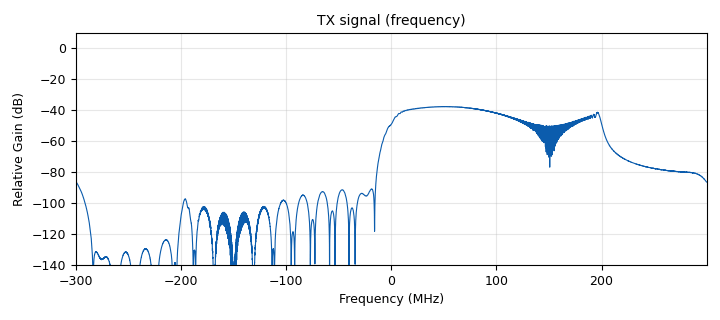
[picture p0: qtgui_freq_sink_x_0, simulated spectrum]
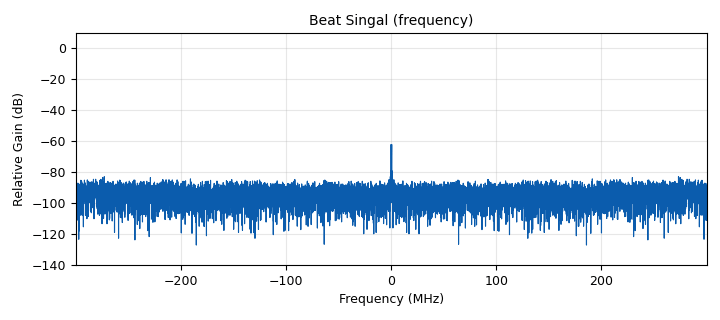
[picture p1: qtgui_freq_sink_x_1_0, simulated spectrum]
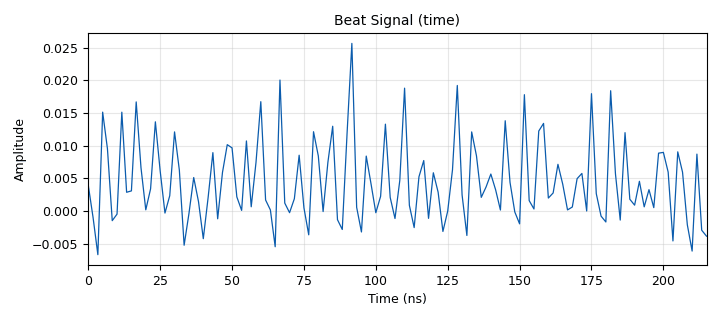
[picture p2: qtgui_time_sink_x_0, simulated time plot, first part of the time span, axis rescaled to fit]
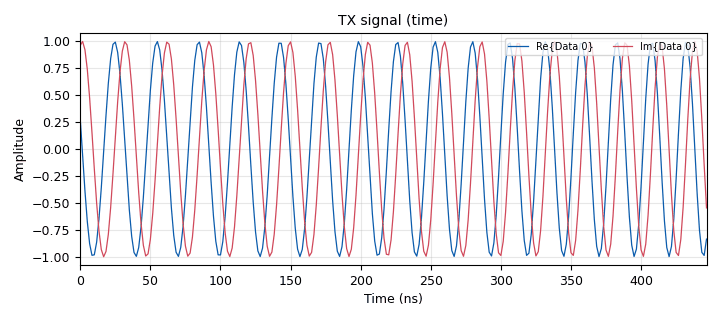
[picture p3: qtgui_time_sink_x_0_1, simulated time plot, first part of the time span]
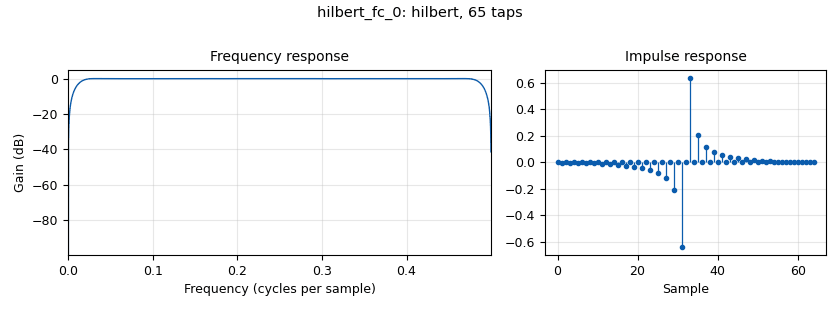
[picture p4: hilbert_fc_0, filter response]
options:
  parameters:
    generate_options: qt_gui
    id: top_block_sim
    output_language: python
    title: Chirp Radar Simulation
  states: {}

blocks:
- name: fft_size
  id: variable
  parameters:
    value: int(8192*8)
  states: {}
- name: samp_rate
  id: variable
  parameters:
    value: '600000000'
  states: {}
- name: analog_noise_source_x_0
  id: analog_noise_source_x
  parameters:
    amp: '0.01'
    noise_type: analog.GR_GAUSSIAN
    seed: '0'
    type: complex
  states: {}
- name: analog_sig_source_x_0
  id: analog_sig_source_x
  parameters:
    amp: '1'
    freq: '100000'
    offset: '0'
    phase: '0'
    samp_rate: samp_rate
    type: float
    waveform: analog.GR_SAW_WAVE
  states: {}
- name: blocks_add_xx_0
  id: blocks_add_xx
  parameters:
    type: complex
  states: {}
- name: blocks_complex_to_real_0
  id: blocks_complex_to_real
  parameters: {}
  states: {}
- name: blocks_complex_to_real_0_0
  id: blocks_complex_to_real
  parameters: {}
  states: {}
- name: blocks_delay_0
  id: blocks_delay
  parameters:
    delay: '8'
    type: complex
  states: {}
- name: blocks_multiply_const_vxx_0
  id: blocks_multiply_const_vxx
  parameters:
    const: '0.01'
    type: complex
  states: {}
- name: blocks_multiply_xx_0
  id: blocks_multiply_xx
  parameters:
    type: float
  states: {}
- name: blocks_stream_to_vector_0
  id: blocks_stream_to_vector
  parameters:
    num_items: fft_size
    type: float
  states: {}
- name: blocks_throttle_0
  id: blocks_throttle
  parameters:
    samples_per_second: samp_rate
    type: float
  states: {}
- name: blocks_vco_f_0
  id: blocks_vco_f
  parameters:
    amplitude: '1'
    samp_rate: samp_rate
    sensitivity: int(2*628000000)
  states: {}
- name: chirp_radar_max_freq_peak_detector_ff_0
  id: chirp_radar_max_freq_peak_detector_ff
  parameters:
    f_max: '3000000'
    fft_size: fft_size
    sampling_rate: samp_rate
  states: {}
- name: hilbert_fc_0
  id: hilbert_fc
  parameters:
    num_taps: '64'
    win: firdes.WIN_HAMMING
  states: {}
- name: qtgui_freq_sink_x_0
  id: qtgui_freq_sink_x
  parameters:
    bw: samp_rate
    fc: '0'
    fftsize: '10240'
    name: '"TX signal (frequency)"'
    type: complex
    wintype: firdes.WIN_BLACKMAN_hARRIS
  states: {}
- name: qtgui_freq_sink_x_1_0
  id: qtgui_freq_sink_x
  parameters:
    bw: samp_rate
    fc: '0'
    fftsize: '16383'
    name: '"Beat Singal (frequency)"'
    type: float
    wintype: firdes.WIN_BLACKMAN_hARRIS
  states: {}
- name: qtgui_time_sink_x_0
  id: qtgui_time_sink_x
  parameters:
    name: '"Beat Signal (time)"'
    size: '10240'
    srate: samp_rate
    type: float
  states: {}
- name: qtgui_time_sink_x_0_0
  id: qtgui_time_sink_x
  parameters:
    autoscale: 'True'
    grid: 'True'
    name: '"Max Freq"'
    size: '10'
    srate: samp_rate/fft_size
    type: float
    ylabel: Distance
  states: {}
- name: qtgui_time_sink_x_0_1
  id: qtgui_time_sink_x
  parameters:
    name: '"TX signal (time)"'
    size: '10000'
    srate: samp_rate
    type: complex
  states: {}

connections:
- [analog_noise_source_x_0, '0', blocks_add_xx_0, '1']
- [analog_sig_source_x_0, '0', blocks_vco_f_0, '0']
- [blocks_add_xx_0, '0', blocks_complex_to_real_0_0, '0']
- [blocks_complex_to_real_0, '0', blocks_multiply_xx_0, '0']
- [blocks_complex_to_real_0_0, '0', blocks_multiply_xx_0, '1']
- [blocks_delay_0, '0', blocks_multiply_const_vxx_0, '0']
- [blocks_multiply_const_vxx_0, '0', blocks_add_xx_0, '0']
- [blocks_multiply_xx_0, '0', blocks_stream_to_vector_0, '0']
- [blocks_multiply_xx_0, '0', qtgui_freq_sink_x_1_0, '0']
- [blocks_multiply_xx_0, '0', qtgui_time_sink_x_0, '0']
- [blocks_stream_to_vector_0, '0', chirp_radar_max_freq_peak_detector_ff_0, '0']
- [blocks_throttle_0, '0', hilbert_fc_0, '0']
- [blocks_vco_f_0, '0', blocks_throttle_0, '0']
- [chirp_radar_max_freq_peak_detector_ff_0, '0', qtgui_time_sink_x_0_0, '0']
- [hilbert_fc_0, '0', blocks_complex_to_real_0, '0']
- [hilbert_fc_0, '0', blocks_delay_0, '0']
- [hilbert_fc_0, '0', qtgui_freq_sink_x_0, '0']
- [hilbert_fc_0, '0', qtgui_time_sink_x_0_1, '0']

metadata:
  file_format: 1
